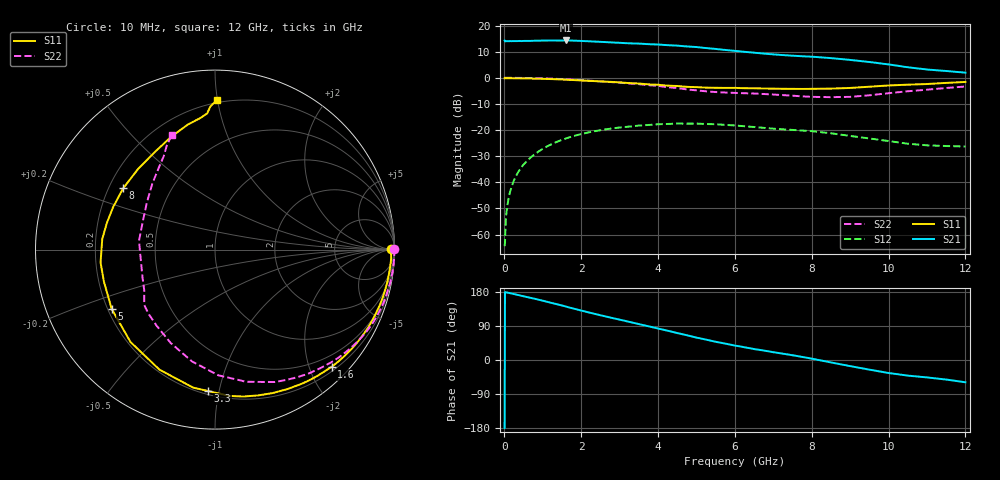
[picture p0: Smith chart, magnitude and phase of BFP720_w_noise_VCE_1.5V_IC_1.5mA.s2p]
! Infineon Technologies  Discrete & RF Semiconductors
! BFP720
! VCE =  1.5 V,  IC =  1.5 mA
! Common Emitter S-Parameters:  Aug 2012
# GHz  S  MA  R  50
!  f  S11  S21  S12  S22
! GHz  MAG  ANG  MAG  ANG  MAG  ANG  MAG  ANG
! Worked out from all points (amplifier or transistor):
!   105 points, 10 MHz to 12 GHz, reference 50 ohm
!   highest |S21| = 14.3 dB at 1.6 GHz (marker M1)
!   |S21| within 3 dB of that: start of sweep to 5.315 GHz
!   unconditionally stable (mu >= 1): 8.251 GHz to end of sweep
!   at 300 MHz: K = 0.01, MSG = 25.9 dB, |S12| = -37.7 dB
!   at 3.6 GHz: K = 0.27, MSG = 15.6 dB, |S12| = -18.2 dB
!   at 12 GHz: K = 1.02, MAG = 13.4 dB, |S12| = -26.3 dB
!   lowest NFmin = 0.43 dB at 450 MHz
!   S11 on the Smith chart (normalised r, x): 10 MHz: 91, +15; 1.6 GHz: 0.28, -2.38; 3.3 GHz: 0.22, -0.93; 5 GHz: 0.22, -0.25; 8 GHz: 0.26, +0.28; 12 GHz: 0.18, +1.00
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0.01  0.9788 0.2  5.156 -179.7  0.0006 -55.3  0.9951 0.2
0.02  0.9823 -0.5  4.976 179.2  0.0007 101.6  0.9996 -0.4
0.05  0.9808 -1.3  5.024 178.5  0.0023 89.0  0.9988 -1.1
0.11  0.9824 -2.9  5.018 177.3  0.0048 86.6  0.9989 -2.3
0.35  0.9776 -9.2  5.048 171.8  0.0151 83.5  0.9964 -7.4
1  0.9569 -27.2  5.154 156.5  0.0436 70.2  0.976 -21.8
1.6  0.9215 -45.1  5.183 141.1  0.0688 56.8  0.9357 -35.4
2.1  0.8822 -59.7  5.036 128.1  0.087 45.2  0.8903 -46.7
2.6  0.8473 -73.5  4.838 115.8  0.1021 34.5  0.8453 -57.3
3.3  0.7887 -92.9  4.557 99.6  0.1175 20.1  0.7742 -72.2
3.5  0.7787 -98.9  4.518 94.8  0.1219 16.3  0.7569 -76.7
4.1  0.7238 -118.2  4.284 80.8  0.1297 4.5  0.6845 -91.0
4.5  0.6976 -132.5  4.134 71.2  0.1333 -3.3  0.6358 -101.7
5  0.6638 -150.2  3.882 59.1  0.133 -13.1  0.5753 -115.5
5.5  0.644 -164.0  3.57 48.1  0.1292 -22.1  0.5345 -127.5
6.1  0.6374 -175.9  3.222 36.4  0.1208 -31.2  0.5111 -137.4
7  0.6205 166.3  2.807 20.6  0.1064 -41.5  0.479 -145.4
8  0.615 146.3  2.537 3.6  0.0953 -51.1  0.4319 -159.4
8.5  0.621 133.6  2.383 -6.4  0.0868 -56.6  0.4262 173.5
9.5  0.6752 111.0  2.008 -25.4  0.0691 -61.6  0.4622 145.1
10.5  0.7384 96.2  1.591 -41.2  0.0548 -60.5  0.5524 124.6
12  0.8328 89.3  1.255 -58.8  0.0484 -51.2  0.6816 110.8
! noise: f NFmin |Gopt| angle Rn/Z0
0.45  0.43  0.72  5  0.33
1.8  0.58  0.67  30  0.28
2.4  0.68  0.58  79  0.2
5.5  0.99  0.47  92  0.09
10  1.51  0.5  -113  0.24
